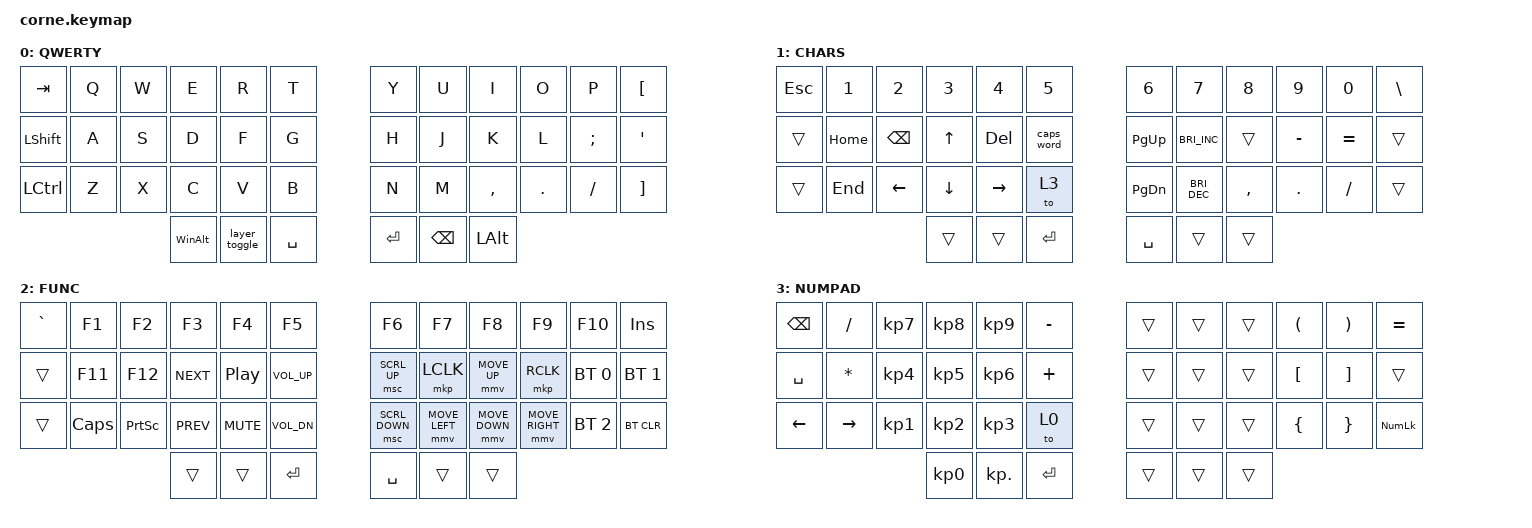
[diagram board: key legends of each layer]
/* v2 layer toggles
 * Copyright (c) 2020 The ZMK Contributors
 *
 * SPDX-License-Identifier: MIT
 */

#include <behaviors.dtsi>
#include <dt-bindings/zmk/bt.h>
#include <dt-bindings/zmk/keys.h>
#include <dt-bindings/zmk/pointing.h>

/ {
    combos { compatible = "zmk,combos"; };

    behaviors {
        WinAlt: WinAlt {
            compatible = "zmk,behavior-tap-dance";
            label = "WINALT";
            #binding-cells = <0>;
            bindings = <&kp LEFT_GUI>, <&kp LALT>;

            tapping-term-ms = <220>;
        };

        layer_toggle: layer_toggle {
            compatible = "zmk,behavior-tap-dance";
            label = "LAYER_TOGGLE";
            #binding-cells = <0>;
            bindings = <&mo 1>, <&mo 2>;

            tapping-term-ms = <220>;
        };
    };

    keymap {
        compatible = "zmk,keymap";

        default_layer {
            bindings = <
&kp TAB    &kp Q  &kp W  &kp E    &kp R          &kp T        &kp Y    &kp U          &kp I         &kp O    &kp P     &kp LBKT
&kp LSHFT  &kp A  &kp S  &kp D    &kp F          &kp G        &kp H    &kp J          &kp K         &kp L    &kp SEMI  &kp SQT
&kp LCTRL  &kp Z  &kp X  &kp C    &kp V          &kp B        &kp N    &kp M          &kp COMMA     &kp DOT  &kp FSLH  &kp RBKT
                         &WinAlt  &layer_toggle  &kp SPACE    &kp RET  &kp BACKSPACE  &kp LEFT_ALT
            >;

            label = "QWERTY";
        };

        charnav_layer {
            bindings = <
&kp ESCAPE  &kp N1    &kp N2    &kp N3    &kp N4     &kp N5        &kp N6     &kp N7                &kp N8     &kp N9      &kp N0     &kp BACKSLASH
&trans      &kp HOME  &kp BSPC  &kp UP    &kp DEL    &caps_word    &kp PG_UP  &kp C_BRIGHTNESS_INC  &trans     &kp MINUS   &kp EQUAL  &trans
&trans      &kp END   &kp LEFT  &kp DOWN  &kp RIGHT  &to 3         &kp PG_DN  &kp C_BRIGHTNESS_DEC  &kp COMMA  &kp PERIOD  &kp SLASH  &trans
                                &trans    &trans     &kp ENTER     &kp SPACE  &trans                &trans
            >;

            label = "CHARS";
        };

        function_layer {
            bindings = <
&kp GRAVE  &kp F1        &kp F2           &kp F3      &kp F4      &kp F5          &kp F6          &kp F7          &kp F8          &kp F9           &kp F10       &kp INS
&trans     &kp F11       &kp F12          &kp C_NEXT  &kp C_PP    &kp C_VOL_UP    &msc SCRL_UP    &mkp LCLK       &mmv MOVE_UP    &mkp RCLK        &bt BT_SEL 0  &bt BT_SEL 1
&trans     &kp CAPSLOCK  &kp PRINTSCREEN  &kp C_PREV  &kp C_MUTE  &kp C_VOL_DN    &msc SCRL_DOWN  &mmv MOVE_LEFT  &mmv MOVE_DOWN  &mmv MOVE_RIGHT  &bt BT_SEL 2  &bt BT_CLR
                                          &trans      &trans      &kp ENTER       &kp SPACE       &trans          &trans
            >;

            label = "FUNC";
        };

        numpad_layer {
            bindings = <
&kp BSPC        &kp SLASH  &kp KP_NUMBER_7  &kp KP_NUMBER_8  &kp KP_NUMBER_9  &kp MINUS    &trans  &trans  &trans  &kp LEFT_PARENTHESIS  &kp RIGHT_PARENTHESIS  &kp EQUAL
&kp SPACE       &kp ASTRK  &kp KP_NUMBER_4  &kp KP_NUMBER_5  &kp KP_NUMBER_6  &kp PLUS     &trans  &trans  &trans  &kp LBKT              &kp RBKT               &trans
&kp LEFT_ARROW  &kp RIGHT  &kp KP_NUMBER_1  &kp KP_NUMBER_2  &kp KP_NUMBER_3  &to 0        &trans  &trans  &trans  &kp LBRC              &kp RBRC               &kp KP_NUMLOCK
                                            &kp KP_NUMBER_0  &kp KP_DOT       &kp ENTER    &trans  &trans  &trans
            >;

            label = "NUMPAD";
        };
    };
};
